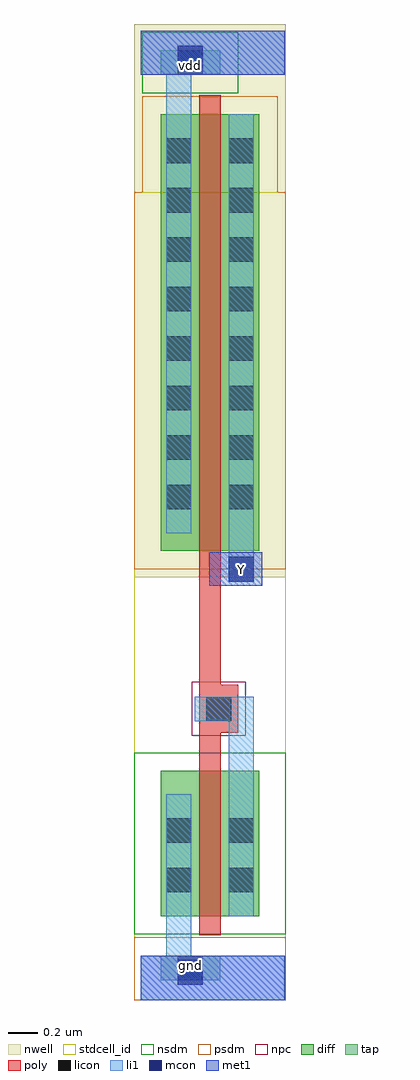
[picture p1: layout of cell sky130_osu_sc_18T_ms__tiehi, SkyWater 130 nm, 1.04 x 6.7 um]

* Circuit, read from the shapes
.subckt sky130_osu_sc_18T_ms__tiehi Y gnd vdd
XM1 n1 n1 gnd gnd sky130_fd_pr__nfet_01v8 w=1 l=0.15
XM2 Y n1 vdd vdd sky130_fd_pr__pfet_01v8 w=3 l=0.15
.ends

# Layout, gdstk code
import gdstk
lib = gdstk.Library(unit=1e-6, precision=1e-09)
def R(c, l, rs):  # rectangles x0, y0, x1, y1
    for r in rs: c.add(gdstk.rectangle(r[:2], r[2:], *l))
def A(c, l, x, y, w, h, nx, ny, dx, dy):  # array of equal rectangles
    R(c, l, [(x+i*dx, y+j*dy, x+i*dx+w, y+j*dy+h) for i in range(nx) for j in range(ny)])
nwell = (64, 20)
diff = (65, 20)
tap = (65, 44)
poly = (66, 20)
licon = (66, 44)
li1 = (67, 20)
mcon = (67, 44)
met1 = (68, 20)
stdcell_id = (81, 4)
nsdm = (93, 44)
psdm = (94, 20)
npc = (95, 20)

sky130_osu_sc_18t_ms__ti = lib.new_cell('sky130_osu_sc_18T_ms__tiehi')
R(sky130_osu_sc_18t_ms__ti, nwell, [(-0.045,2.905,0.995,6.705)])
R(sky130_osu_sc_18t_ms__ti, diff, [(0.135,0.575,0.815,1.575), (0.135,3.085,0.815,6.085)])
R(sky130_osu_sc_18t_ms__ti, tap, [(0.135,0.135,0.545,0.305), (0.135,6.355,0.545,6.525)])
R(sky130_osu_sc_18t_ms__ti, poly, [(0.4,0.445,0.55,1.835), (0.4,1.835,0.67,2.165), (0.4,2.165,0.55,6.215)])
A(sky130_osu_sc_18t_ms__ti, licon, 0.175, 3.37, 0.17, 0.17, 1, 8, 0, 0.34)
A(sky130_osu_sc_18t_ms__ti, licon, 0.605, 3.37, 0.17, 0.17, 1, 8, 0, 0.34)
R(sky130_osu_sc_18t_ms__ti, licon, [(0.255,0.135,0.425,0.305), (0.175,0.74,0.345,0.91), (0.605,0.74,0.775,0.91), (0.175,1.08,0.345,1.25), (0.605,1.08,0.775,1.25), (0.45,1.915,0.62,2.085), (0.255,6.355,0.425,6.525)])
R(sky130_osu_sc_18t_ms__ti, li1, [(0,0,0.99,0.305), (0.175,0.305,0.345,1.415), (0.605,0.575,0.775,1.915), (0.37,1.915,0.775,2.085), (0.605,2.875,0.775,6.085), (0.175,3.205,0.345,6.355), (0,6.355,0.99,6.66)])
R(sky130_osu_sc_18t_ms__ti, mcon, [(0.255,0.105,0.425,0.275), (0.605,2.875,0.775,3.045), (0.255,6.385,0.425,6.555)])
R(sky130_osu_sc_18t_ms__ti, met1, [(0,0,0.99,0.305), (0.47,2.845,0.835,3.075), (0,6.355,0.99,6.66)])
R(sky130_osu_sc_18t_ms__ti, stdcell_id, [(-0.045,0,0.995,5.55)])
R(sky130_osu_sc_18t_ms__ti, nsdm, [(-0.045,0.45,0.995,1.7), (0.01,6.23,0.67,6.65)])
R(sky130_osu_sc_18t_ms__ti, psdm, [(-0.045,0,0.995,0.43), (-0.045,2.96,0.995,5.55), (0.01,5.55,0.94,6.21)])
R(sky130_osu_sc_18t_ms__ti, npc, [(0.35,1.815,0.72,2.185)])
sky130_osu_sc_18t_ms__ti.add(gdstk.Label('gnd', (0.34,0.24), layer=68, texttype=16))
sky130_osu_sc_18t_ms__ti.add(gdstk.Label('vdd', (0.34,6.42), layer=68, texttype=16))
sky130_osu_sc_18t_ms__ti.add(gdstk.Label('Y', (0.69,2.96), layer=68, texttype=5))

lib.write_gds('sky130_osu_sc_18T_ms__tiehi.gds')
